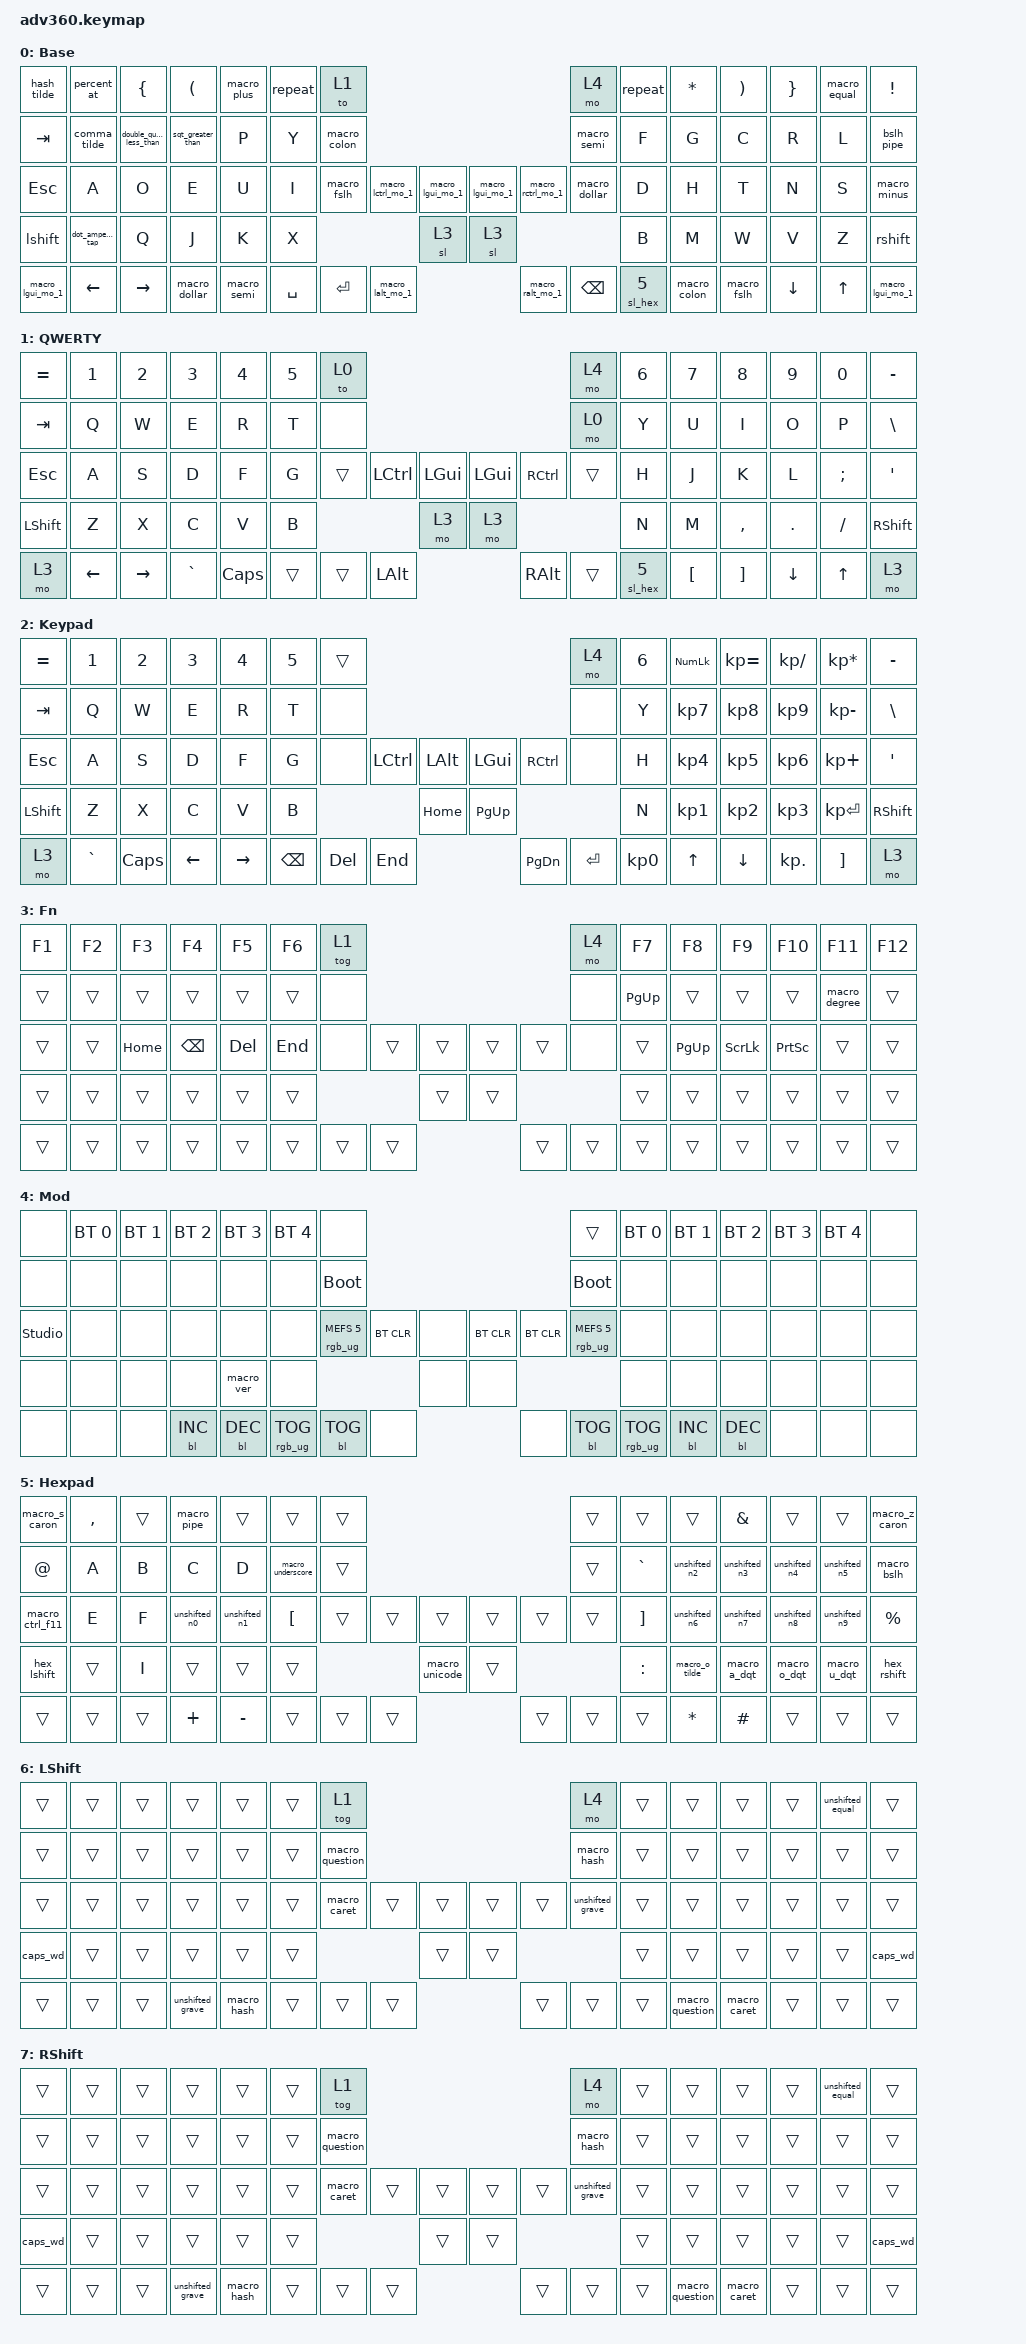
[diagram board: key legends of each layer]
#include <behaviors.dtsi>
#include <dt-bindings/zmk/keys.h>
#include <dt-bindings/zmk/bt.h>
#include <dt-bindings/zmk/rgb.h>
#include <dt-bindings/zmk/stp.h>
#include <dt-bindings/zmk/backlight.h>
#include <dt-bindings/zmk/pointing.h>

/ {
  behaviors {
    #include "macros.dtsi"
    #include "user_macros.dtsi"
    #include "version.dtsi"

    hm: homerow_mods {
        compatible = "zmk,behavior-hold-tap";
        label = "HOMEROW_MODS";
        #binding-cells = <2>;
        tapping-term-ms = <200>;
        quick_tap_ms = <175>;
        flavor = "tap-preferred";
        bindings = <&kp>, <&kp>;
    };

    comma_tilde: comma_tilde {
                compatible = "zmk,behavior-mod-morph";
                label = "comma_tilde";
                #binding-cells = <0>;
                bindings = <&kp COMMA>, <&kp TILDE>;
                mods = <(MOD_LSFT|MOD_RSFT)>;
        };
    double_quotes_less_than: double_quotes_less_than {
                compatible = "zmk,behavior-mod-morph";
                label = "double_quotes_less_than";
                #binding-cells = <0>;
                bindings = <&macro_dqt>, <&kp LESS_THAN>;
                mods = <(MOD_LSFT|MOD_RSFT)>;
        };
    sqt_greater_than: sqt_greater_than {
                compatible = "zmk,behavior-mod-morph";
                label = "sqt_greater_than";
                #binding-cells = <0>;
                bindings = <&macro_sqt>, <&kp GREATER_THAN>;
                mods = <(MOD_LSFT|MOD_RSFT)>;
        };
    bslh_pipe: bslh_pipe {
                compatible = "zmk,behavior-mod-morph";
                label = "bslh_pipe";
                #binding-cells = <0>;
                bindings = <&kp BSLH>, <&kp PIPE>;
                mods = <(MOD_LSFT|MOD_RSFT)>;
        };
    fslh_caret: fslh_caret {
                compatible = "zmk,behavior-mod-morph";
                label = "fslh_caret";
                #binding-cells = <0>;
                bindings = <&macro_fslh>, <&macro_caret>;
                mods = <(MOD_LSFT|MOD_RSFT)>;
        };
    dollar_grave: dollar_grave {
                compatible = "zmk,behavior-mod-morph";
                label = "dollar_grave";
                #binding-cells = <0>;
                bindings = <&kp DOLLAR>, <&kp GRAVE>;
                mods = <(MOD_LSFT|MOD_RSFT)>;
        };
    semi_hash: semi_hash {
                compatible = "zmk,behavior-mod-morph";
                label = "semi_hash";
                #binding-cells = <0>;
                bindings = <&kp SEMI>, <&kp HASH>;
                mods = <(MOD_LSFT|MOD_RSFT)>;
        };
    colon_question: colon_question {
                compatible = "zmk,behavior-mod-morph";
                label = "colon_question";
                #binding-cells = <0>;
                bindings = <&kp COLON>, <&kp QUESTION>;
                mods = <(MOD_LSFT|MOD_RSFT)>;
        };
    dot_ampersand: dot_ampersand {
                compatible = "zmk,behavior-mod-morph";
                label = "dot_ampersand";
                #binding-cells = <0>;
                bindings = <&kp DOT>, <&kp AMPERSAND>;
                mods = <(MOD_LSFT|MOD_RSFT)>;
        };
    dot_ampersand_tap: dot_ampersand_tap {
                compatible = "zmk,behavior-mod-morph";
                label = "dot_ampersand_tap";
                #binding-cells = <0>;
                bindings = <&macro_dot>, <&macro_ampersand>;
                mods = <(MOD_LSFT|MOD_RSFT)>;
        };
    hash_tilde: hash_tilde {
                compatible = "zmk,behavior-mod-morph";
                label = "hash_tilde";
                #binding-cells = <0>;
                bindings = <&kp HASH>, <&kp TILDE>;
                mods = <(MOD_LSFT|MOD_RSFT)>;
        };
    // Hexpad key: tap = next key only (Shift doesn't use it up), tap again =
    // off, hold = momentary; releasing it after Ctrl+Shift+U unicode entry
    // sends the finishing Enter. zmk-modules/smart-keys.
    sl_hex: oneshot_layer_hex {
                compatible = "zmk,behavior-oneshot-layer";
                #binding-cells = <1>;
                release-after-ms = <1000>;
                display-name = "Hexpad";
        };
    // Caps word (tap both Shift keys, also on the Hexpad), zmk-modules/smart-keys:
    // like ZMK's caps word, plus compose letters (Ö Š ...) and the caps lock
    // LED. Keeps going through ':' (MAC addresses via the Hexpad) and '-'
    // (CONSTANT-NAMES); letters and digits always continue; UNDERSCORE
    // BACKSPACE DELETE are ZMK's defaults.
    caps_wd: smart_caps_word {
                compatible = "zmk,behavior-smart-caps-word";
                #binding-cells = <0>;
                continue-list = <UNDERSCORE BACKSPACE DELETE COLON MINUS>;
                display-name = "CapsWd";
        };
    // Shift keys (Base layer), zmk-modules/smart-keys: tapped alone they
    // are sticky - Shift and the LShift/RShift layer stay on until the next
    // key that types something has been sent (at most 1 s; tap again = off).
    // Held, or with any other key pressed meanwhile (e.g. the caps word
    // gesture), they are plain Shift. With Ctrl, Alt or Super held: plain.
    lshift: sticky_lshift {
                compatible = "zmk,behavior-sticky-shift";
                #binding-cells = <0>;
                bindings = <&macro_lshift_mo_6>;
                release-after-ms = <1000>;
        };
    rshift: sticky_rshift {
                compatible = "zmk,behavior-sticky-shift";
                #binding-cells = <0>;
                bindings = <&macro_rshift_mo_7>;
                release-after-ms = <1000>;
        };
    // Hexpad Shift keys: with the other Shift held = caps word
    hex_lshift: hex_lshift {
                compatible = "zmk,behavior-mod-morph";
                #binding-cells = <0>;
                bindings = <&kp LSHFT>, <&caps_wd>;
                mods = <(MOD_RSFT)>;
        };
    hex_rshift: hex_rshift {
                compatible = "zmk,behavior-mod-morph";
                #binding-cells = <0>;
                bindings = <&kp RSHFT>, <&caps_wd>;
                mods = <(MOD_LSFT)>;
        };
    // Repeat key: replays whatever the last key typed (whole macros, unicode
    // entry, exact modifiers), skips Space. zmk-modules/smart-keys.
    repeat: smart_repeat {
                compatible = "zmk,behavior-smart-repeat";
                #binding-cells = <0>;
                display-name = "Repeat";
        };
    percent_at: percent_at {
                compatible = "zmk,behavior-mod-morph";
                label = "percent_at";
                #binding-cells = <0>;
                bindings = <&kp PERCENT>, <&kp AT>;
                mods = <(MOD_LSFT|MOD_RSFT)>;
       };
  };

  keymap {
    compatible = "zmk,keymap";

    default_layer {
      display-name = "Base";
      bindings = <
        &hash_tilde        &percent_at        &kp LEFT_BRACE           &kp LEFT_PARENTHESIS &macro_plus &repeat &to 1                                                                                              &mo 4         &repeat &kp ASTRK    &kp RIGHT_PARENTHESIS &kp RIGHT_BRACE &macro_equal &kp EXCL
        &kp TAB            &comma_tilde       &double_quotes_less_than &sqt_greater_than    &kp P       &kp Y       &macro_colon                                                                                       &macro_semi   &kp F       &kp G        &kp C                 &kp R           &kp L        &bslh_pipe
        &kp ESC            &kp A              &kp O                    &kp E                &kp U       &kp I       &macro_fslh            &macro_lctrl_mo_1 &macro_lgui_mo_1 &macro_lgui_mo_1 &macro_rctrl_mo_1       &macro_dollar &kp D       &kp H        &kp T                 &kp N           &kp S        &macro_minus
        &lshift &dot_ampersand_tap &kp Q                    &kp J                &kp K       &kp X                                                &sl 3            &sl 3                                                  &kp B       &kp M        &kp W                 &kp V           &kp Z        &rshift
        &macro_lgui_mo_1 &kp LEFT           &kp RIGHT                &macro_dollar        &macro_semi                          &kp SPACE &kp ENTER         &macro_lalt_mo_1 &macro_ralt_mo_1 &kp BSPC          &sl_hex 5                          &macro_colon &macro_fslh           &kp DOWN        &kp UP       &macro_lgui_mo_1
      >;
    };

    layer_original {
      display-name = "QWERTY";
      // Plain modifiers on the thumbs: Base's macro_*_mo_1 keys would end
      // this layer when released (&mo 1 release) after &to 1 switched to it.
      bindings = <
        &kp EQUAL &kp N1   &kp N2    &kp N3    &kp N4   &kp N5 &to 0                                                         &mo 4  &kp N6 &kp N7   &kp N8    &kp N9   &kp N0   &kp MINUS
        &kp TAB   &kp Q    &kp W     &kp E     &kp R    &kp T  &none                                                         &mo 0  &kp Y  &kp U    &kp I     &kp O    &kp P    &kp BSLH
        &kp ESC   &kp A    &kp S     &kp D     &kp F    &kp G  &trans        &kp LCTRL &kp LGUI &kp LGUI &kp RCTRL           &trans &kp H  &kp J    &kp K     &kp L    &kp SEMI &kp SQT
        &kp LSHFT &kp Z    &kp X     &kp C     &kp V    &kp B                          &mo 3    &mo 3                               &kp N  &kp M    &kp COMMA &kp DOT  &kp FSLH &kp RSHFT
        &mo 3     &kp LEFT &kp RIGHT &kp GRAVE &kp CAPS               &trans &trans    &kp LALT &kp RALT &trans    &sl_hex 5               &kp LBKT &kp RBKT  &kp DOWN &kp UP   &mo 3
      >;
    };

    layer_keypad {
      display-name = "Keypad";
      bindings = <
        &kp EQUAL &kp N1    &kp N2   &kp N3   &kp N4    &kp N5 &trans                                                           &mo 4 &kp N6 &kp KP_NUM &kp KP_EQUAL &kp KP_DIVIDE &kp KP_MULTIPLY &kp MINUS
        &kp TAB   &kp Q     &kp W    &kp E    &kp R     &kp T  &none                                                            &none &kp Y  &kp KP_N7  &kp KP_N8    &kp KP_N9     &kp KP_MINUS    &kp BSLH
        &kp ESC   &kp A     &kp S    &kp D    &kp F     &kp G  &none           &kp LCTRL &kp LALT &kp LGUI  &kp RCTRL           &none &kp H  &kp KP_N4  &kp KP_N5    &kp KP_N6     &kp KP_PLUS     &kp SQT
        &kp LSHFT &kp Z     &kp X    &kp C    &kp V     &kp B                            &kp HOME &kp PG_UP                           &kp N  &kp KP_N1  &kp KP_N2    &kp KP_N3     &kp KP_ENTER    &kp RSHFT
        &mo 3     &kp GRAVE &kp CAPS &kp LEFT &kp RIGHT               &kp BSPC &kp DEL   &kp END  &kp PG_DN &kp ENTER &kp KP_N0              &kp UP     &kp DOWN     &kp KP_DOT    &kp RBKT        &mo 3
      >;
    };

    layer_fn {
      display-name = "Fn";
      bindings = <
        &kp F1 &kp F2 &kp F3   &kp F4   &kp F5  &kp F6  &tog 1                                           &mo 4 &kp F7    &kp F8    &kp F9         &kp F10         &kp F11       &kp F12
        &trans &trans &trans   &trans   &trans  &trans  &none                                            &none &kp PG_UP &trans    &trans         &trans          &macro_degree &trans
        &trans &trans &kp HOME &kp BSPC &kp DEL &kp END &none         &trans &trans &trans &trans        &none &trans    &kp PG_UP &kp SCROLLLOCK &kp PRINTSCREEN &trans        &trans
        &trans &trans &trans   &trans   &trans  &trans                       &trans &trans                     &trans    &trans    &trans         &trans          &trans        &trans
        &trans &trans &trans   &trans   &trans                 &trans &trans &trans &trans &trans &trans                 &trans    &trans         &trans          &trans        &trans
      >;
    };

    layer_mod {
      display-name = "Mod";
      bindings = <
        &none          &bt BT_SEL 0 &bt BT_SEL 1 &bt BT_SEL 2 &bt BT_SEL 3 &bt BT_SEL 4 &none                                                                                         &trans                 &bt BT_SEL 0 &bt BT_SEL 1 &bt BT_SEL 2 &bt BT_SEL 3 &bt BT_SEL 4 &none
        &none          &none        &none        &none        &none        &none        &bootloader                                                                                   &bootloader            &none        &none        &none        &none        &none        &none
        &studio_unlock &none        &none        &none        &none        &none        &rgb_ug RGB_MEFS_CMD 5                 &bt BT_CLR &none &bt BT_CLR &bt BT_CLR                 &rgb_ug RGB_MEFS_CMD 5 &none        &none        &none        &none        &none        &none
        &none          &none        &none        &none        &macro_ver   &none                                                          &none &none                                                        &none        &none        &none        &none        &none        &none
        &none          &none        &none        &bl BL_INC   &bl BL_DEC                                       &rgb_ug RGB_TOG &bl BL_TOG &none &none      &bl BL_TOG &rgb_ug RGB_TOG                                     &bl BL_INC   &bl BL_DEC   &none        &none        &none
      >;
    };

    layer_hexpad {
      display-name = "Hexpad";
      bindings = <
        &macro_s_caron  &kp COMMA &trans &macro_pipe   &trans        &trans            &trans                                                   &trans &trans    &trans         &kp AMPERSAND &trans        &trans        &macro_z_caron
        &kp AT          &kp A     &kp B  &kp C         &kp D         &macro_underscore &trans                                                   &trans &kp GRAVE &unshifted_n2  &unshifted_n3 &unshifted_n4 &unshifted_n5 &macro_bslh
        &macro_ctrl_f11 &kp E     &kp F  &unshifted_n0 &unshifted_n1 &kp LBKT          &trans        &trans &trans         &trans &trans        &trans &kp RBKT  &unshifted_n6  &unshifted_n7 &unshifted_n8 &unshifted_n9 &kp PERCENT
        &hex_lshift     &trans    &kp I  &trans        &trans        &trans                                 &macro_unicode &trans                      &kp COLON &macro_o_tilde &macro_a_dqt  &macro_o_dqt  &macro_u_dqt  &hex_rshift
        &trans          &trans    &trans &kp PLUS      &kp MINUS                              &trans &trans &trans         &trans &trans &trans                  &kp ASTRK      &kp HASH      &trans        &trans        &trans
      >;
    };

    layer_left_shift {
      display-name = "LShift";
      bindings = <
        &trans   &trans &trans &trans           &trans      &trans &tog 1                                                    &mo 4            &trans &trans          &trans       &trans &unshifted_equal &trans
        &trans   &trans &trans &trans           &trans      &trans &macro_question                                           &macro_hash      &trans &trans          &trans       &trans &trans           &trans
        &trans   &trans &trans &trans           &trans      &trans &macro_caret           &trans &trans &trans &trans        &unshifted_grave &trans &trans          &trans       &trans &trans           &trans
        &caps_wd &trans &trans &trans           &trans      &trans                               &trans &trans                                &trans &trans          &trans       &trans &trans           &caps_wd
        &trans   &trans &trans &unshifted_grave &macro_hash                        &trans &trans &trans &trans &trans &trans                         &macro_question &macro_caret &trans &trans           &trans
      >;
    };

    layer_right_shift {
      display-name = "RShift";
      bindings = <
        &trans   &trans &trans &trans           &trans      &trans &tog 1                                                    &mo 4            &trans &trans          &trans       &trans &unshifted_equal &trans
        &trans   &trans &trans &trans           &trans      &trans &macro_question                                           &macro_hash      &trans &trans          &trans       &trans &trans           &trans
        &trans   &trans &trans &trans           &trans      &trans &macro_caret           &trans &trans &trans &trans        &unshifted_grave &trans &trans          &trans       &trans &trans           &trans
        &caps_wd &trans &trans &trans           &trans      &trans                               &trans &trans                                &trans &trans          &trans       &trans &trans           &caps_wd
        &trans   &trans &trans &unshifted_grave &macro_hash                        &trans &trans &trans &trans &trans &trans                         &macro_question &macro_caret &trans &trans           &trans
      >;
    };
  };
};
